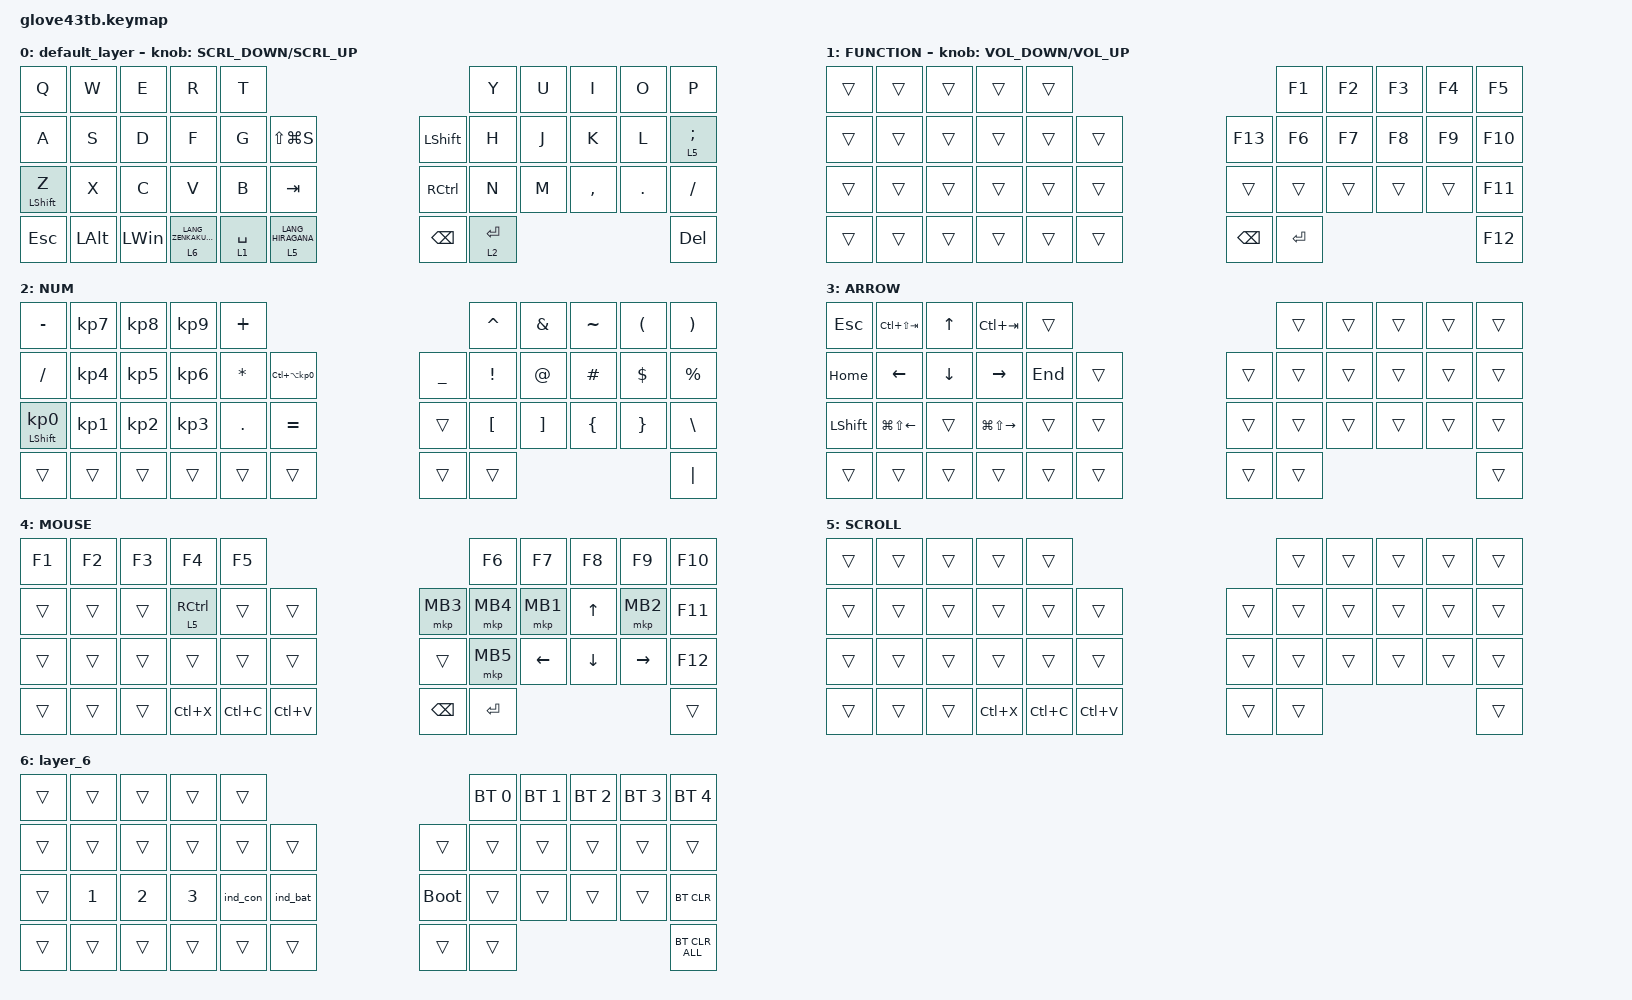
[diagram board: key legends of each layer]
#define ZMK_POINTING_DEFAULT_SCRL_VAL 150

#include <behaviors/rgbled_widget.dtsi>
#include <dt-bindings/zmk/input_transform.h>
#include <input/processors.dtsi>
#include <zephyr/dt-bindings/input/input-event-codes.h>
#include <behaviors.dtsi>
#include <dt-bindings/zmk/bt.h>
#include <dt-bindings/zmk/keys.h>
#include <dt-bindings/zmk/pointing.h>

&mt {
    flavor = "balanced";
    quick-tap-ms = <0>;
};

&mmv {
    delay-ms = <20>;
    trigger-period-ms = <5>;
    time-to-max-speed-ms = <100>;
    acceleration-exponent = <2>;
};

&msc {
    delay-ms = <3>;
    trigger-period-ms = <3>;
    time-to-max-speed-ms = <100>;
    acceleration-exponent = <0>;
};

/ {
    input_processors {
        zip_wheel_scaler: zip_wheel_scaler {
            compatible = "zmk,input-processor-scaler";
            #input-processor-cells = <2>;
            type = <INPUT_EV_REL>;
            codes = <INPUT_REL_WHEEL>;
            track-remainders;
        };
    };
};

/ {
    combos {
        compatible = "zmk,combos";

        tab {
            bindings = <&kp TAB>;
            key-positions = <11 12>;
        };

        shift_tab {
            bindings = <&kp LS(TAB)>;
            key-positions = <12 13>;
        };

        muhennkann {
            bindings = <&to_layer_0 INT_MUHENKAN>;
            key-positions = <11 10>;
        };

        double_quotation {
            bindings = <&kp DOUBLE_QUOTES>;
            key-positions = <20 21>;
        };

        eq {
            bindings = <&kp EQUAL>;
            key-positions = <24 25>;
        };
    };

    macros {
        to_layer_0: to_layer_0 {
            compatible = "zmk,behavior-macro-one-param";
            #binding-cells = <1>;
            bindings = <&to 0 &macro_param_1to1 &kp MACRO_PLACEHOLDER>;
            label = "TO_LAYER_0";
        };
    };

    behaviors {
        lt_to_layer_0: lt_to_layer_0 {
            compatible = "zmk,behavior-hold-tap";
            label = "LAYER_TAP_TO_0";
            bindings = <&mo>, <&to_layer_0>;

            #binding-cells = <2>;
            tapping-term-ms = <200>;
        };

        sensor_rotate_kp: sensor_rotate_kp {
            compatible = "zmk,behavior-sensor-rotate-var";
            #sensor-binding-cells = <2>;
            bindings = <&kp>, <&kp>;
        };

        mouse_wheel_scroll: mouse_wheel_scroll {
            compatible = "zmk,behavior-sensor-rotate-var";
            #sensor-binding-cells = <2>;
            bindings = <&msc>, <&msc>;

            tap-ms = <20>;
        };
    };

    keymap {
        compatible = "zmk,keymap";

        default_layer {
            bindings = <
&kp Q             &kp W         &kp E         &kp R                                 &kp T                                                            &kp Y        &kp U  &kp I      &kp O    &kp P
&kp A             &kp S         &kp D         &kp F                                 &kp G        &kp LS(LG(S))                       &kp LEFT_SHIFT  &kp H        &kp J  &kp K      &kp L    &lt 5 SEMICOLON
&mt LEFT_SHIFT Z  &kp X         &kp C         &kp V                                 &kp B        &kp TAB                             &kp RCTRL       &kp N        &kp M  &kp COMMA  &kp DOT  &kp SLASH
&kp ESC           &kp LEFT_ALT  &kp LEFT_WIN  &lt_to_layer_0 6 LANG_ZENKAKUHANKAKU  &lt 1 SPACE  &lt_to_layer_0 5 LANG_HIRAGANA      &kp BACKSPACE   &lt 2 ENTER                             &kp DEL
            >;

            sensor-bindings = <&mouse_wheel_scroll SCRL_DOWN SCRL_UP>;
        };

        FUNCTION {
            bindings = <
&trans  &trans  &trans  &trans  &trans                             &kp F1     &kp F2  &kp F3  &kp F4  &kp F5
&trans  &trans  &trans  &trans  &trans  &trans      &kp F13        &kp F6     &kp F7  &kp F8  &kp F9  &kp F10
&trans  &trans  &trans  &trans  &trans  &trans      &trans         &trans     &trans  &trans  &trans  &kp F11
&trans  &trans  &trans  &trans  &trans  &trans      &kp BACKSPACE  &kp ENTER                          &kp F12
            >;

            sensor-bindings = <&sensor_rotate_kp C_VOLUME_DOWN C_VOLUME_UP>;
        };

        NUM {
            bindings = <
&kp MINUS                   &kp KP_NUMBER_7  &kp KP_NUMBER_8  &kp KP_NUMBER_9  &kp PLUS                                                   &kp CARET         &kp AMPERSAND      &kp TILDE       &kp LEFT_PARENTHESIS  &kp RIGHT_PARENTHESIS
&kp SLASH                   &kp KP_NUMBER_4  &kp KP_NUMBER_5  &kp KP_NUMBER_6  &kp ASTERISK  &kp LC(LA(KP_NUMBER_0))      &kp UNDERSCORE  &kp EXCLAMATION   &kp AT_SIGN        &kp HASH        &kp DOLLAR            &kp PERCENT
&mt LEFT_SHIFT KP_NUMBER_0  &kp KP_NUMBER_1  &kp KP_NUMBER_2  &kp KP_NUMBER_3  &kp PERIOD    &kp EQUAL                    &trans          &kp LEFT_BRACKET  &kp RIGHT_BRACKET  &kp LEFT_BRACE  &kp RIGHT_BRACE       &kp BACKSLASH
&trans                      &trans           &trans           &trans           &trans        &trans                       &trans          &trans                                                                     &kp PIPE
            >;
        };

        ARROW {
            bindings = <
&kp ESCAPE      &kp LC(LS(TAB))         &kp UP_ARROW    &kp LC(TAB)              &trans                       &trans  &trans  &trans  &trans  &trans
&kp HOME        &kp LEFT_ARROW          &kp DOWN_ARROW  &kp RIGHT_ARROW          &kp END  &trans      &trans  &trans  &trans  &trans  &trans  &trans
&kp LEFT_SHIFT  &kp LG(LS(LEFT_ARROW))  &trans          &kp LG(LS(RIGHT_ARROW))  &trans   &trans      &trans  &trans  &trans  &trans  &trans  &trans
&trans          &trans                  &trans          &trans                   &trans   &trans      &trans  &trans                          &trans
            >;
        };

        MOUSE {
            bindings = <
&kp F1  &kp F2  &kp F3  &kp F4       &kp F5                                   &kp F6     &kp F7          &kp F8          &kp F9           &kp F10
&trans  &trans  &trans  &lt 5 RCTRL  &trans     &trans         &mkp MB3       &mkp MB4   &mkp MB1        &kp UP_ARROW    &mkp MB2         &kp F11
&trans  &trans  &trans  &trans       &trans     &trans         &trans         &mkp MB5   &kp LEFT_ARROW  &kp DOWN_ARROW  &kp RIGHT_ARROW  &kp F12
&trans  &trans  &trans  &kp LC(X)    &kp LC(C)  &kp LC(V)      &kp BACKSPACE  &kp ENTER                                                   &trans
            >;
        };

        SCROLL {
            bindings = <
&trans  &trans  &trans  &trans     &trans                            &trans  &trans  &trans  &trans  &trans
&trans  &trans  &trans  &trans     &trans     &trans         &trans  &trans  &trans  &trans  &trans  &trans
&trans  &trans  &trans  &trans     &trans     &trans         &trans  &trans  &trans  &trans  &trans  &trans
&trans  &trans  &trans  &kp LC(X)  &kp LC(C)  &kp LC(V)      &trans  &trans                          &trans
            >;
        };

        layer_6 {
            bindings = <
&trans  &trans        &trans        &trans        &trans                               &bt BT_SEL 0  &bt BT_SEL 1  &bt BT_SEL 2  &bt BT_SEL 3  &bt BT_SEL 4
&trans  &trans        &trans        &trans        &trans    &trans        &trans       &trans        &trans        &trans        &trans        &trans
&trans  &kp NUMBER_1  &kp NUMBER_2  &kp NUMBER_3  &ind_con  &ind_bat      &bootloader  &trans        &trans        &trans        &trans        &bt BT_CLR
&trans  &trans        &trans        &trans        &trans    &trans        &trans       &trans                                                  &bt BT_CLR_ALL
            >;
        };
    };
};
